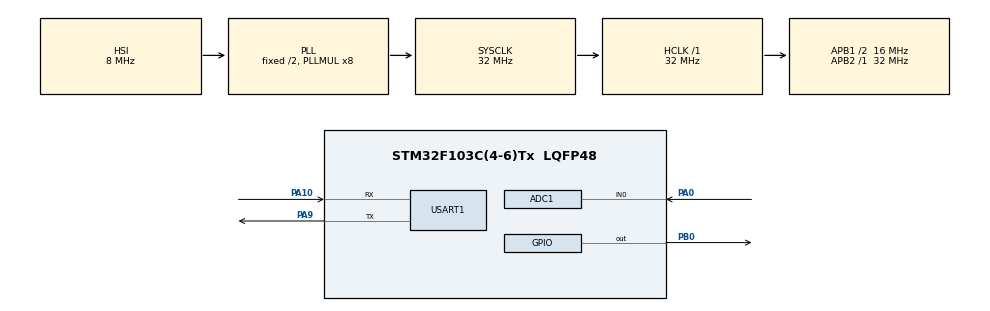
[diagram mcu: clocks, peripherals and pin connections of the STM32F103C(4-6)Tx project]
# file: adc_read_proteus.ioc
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ADC1.Channel-0\#ChannelRegularConversion=ADC_CHANNEL_0
ADC1.ContinuousConvMode=ENABLE
ADC1.EnableAnalogWatchDog=false
ADC1.NbrOfConversionFlag=1
ADC1.Rank-0\#ChannelRegularConversion=1
ADC1.SamplingTime-0\#ChannelRegularConversion=ADC_SAMPLETIME_1CYCLE_5
ADC1.master=1
Mcu.Family=STM32F1
Mcu.Name=STM32F103C(4-6)Tx
Mcu.Package=LQFP48
NVIC.PriorityGroup=NVIC_PRIORITYGROUP_4
PA0-WKUP.Signal=ADCx_IN0
PA10.Mode=Asynchronous
PA10.Signal=USART1_RX
PA9.Mode=Asynchronous
PA9.Signal=USART1_TX
PB0.GPIO_Speed=GPIO_SPEED_FREQ_HIGH
PB0.Signal=GPIO_Output
PD0-OSC_IN.Mode=HSE-External-Oscillator
PD0-OSC_IN.Signal=RCC_OSC_IN
PD1-OSC_OUT.Mode=HSE-External-Oscillator
PD1-OSC_OUT.Signal=RCC_OSC_OUT
ProjectManager.HeapSize=0x200
ProjectManager.StackSize=0x400
ProjectManager.TargetToolchain=STM32CubeIDE
RCC.ADCPresc=RCC_ADCPCLK2_DIV4
RCC.AHBFreq_Value=32000000
RCC.APB1CLKDivider=RCC_HCLK_DIV2
RCC.APB1Freq_Value=16000000
RCC.APB1TimFreq_Value=32000000
RCC.APB2Freq_Value=32000000
RCC.APB2TimFreq_Value=32000000
RCC.HCLKFreq_Value=32000000
RCC.PLLMUL=RCC_PLL_MUL8
RCC.SYSCLKFreq_VALUE=32000000
RCC.SYSCLKSource=RCC_SYSCLKSOURCE_PLLCLK
RCC.USBFreq_Value=32000000
SH.ADCx_IN0.0=ADC1_IN0,IN0
USART1.VirtualMode=VM_ASYNC
VP_SYS_VS_ND.Mode=No_Debug
board=custom

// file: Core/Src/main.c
/* USER CODE BEGIN Header */
/**
  ******************************************************************************
  * @file           : main.c
  * @brief          : Main program body
  ******************************************************************************
  * @attention
  *
  * Copyright (c) 2024 STMicroelectronics.
  * All rights reserved.
  *
  * This software is licensed under terms that can be found in the LICENSE file
  * in the root directory of this software component.
  * If no LICENSE file comes with this software, it is provided AS-IS.
  *
  ******************************************************************************
  */
/* USER CODE END Header */
#include "main.h"
#include<stdio.h>
#include<string.h>
#include<stdlib.h>

ADC_HandleTypeDef hadc1;

UART_HandleTypeDef huart1;

/* USER CODE BEGIN PV */
float adc_voltage;
     uint16_t adc_value,tam_kisim,ondalikli_kisim;
	 uint32_t res;
	 uint32_t data1;
	 char msg[10];
/* USER CODE END PV */

void SystemClock_Config(void);
static void MX_GPIO_Init(void);
static void MX_ADC1_Init(void);
static void MX_USART1_UART_Init(void);

int main(void)
{

  /* MCU Configuration--------------------------------------------------------*/

  /* Reset of all peripherals, Initializes the Flash interface and the Systick. */
  HAL_Init();

  /* Configure the system clock */
  SystemClock_Config();

  /* Initialize all configured peripherals */
  MX_GPIO_Init();
  MX_ADC1_Init();
  MX_USART1_UART_Init();

  /* Infinite loop */
  while (1)
  {

    /* USER CODE BEGIN 3 */
	  HAL_ADC_Start(&hadc1);
	  if(HAL_ADC_PollForConversion(&hadc1, 100)==HAL_OK){
	  		  adc_value = HAL_ADC_GetValue(&hadc1);
	  		  adc_voltage=adc_value/4096.0*3.3;

	  	}
	  tam_kisim=(uint32_t)adc_voltage;
	  ondalikli_kisim=(uint32_t)((adc_voltage-tam_kisim)*1000);

	  //TEST GPIO PIN CONVERSION BEGIN
	  HAL_GPIO_WritePin(GPIOB, GPIO_PIN_0, GPIO_PIN_SET);

	  sprintf(msg," ADC_deger:%d ,ADC_voltage:%d,%d \r\n",adc_value,tam_kisim,ondalikli_kisim);
	  HAL_UART_Transmit(&huart1,(uint8_t*)msg,strlen(msg),HAL_MAX_DELAY);

	  HAL_Delay(500);
  }
  /* USER CODE END 3 */
}

void SystemClock_Config(void)
{
  RCC_OscInitTypeDef RCC_OscInitStruct = {0};
  RCC_ClkInitTypeDef RCC_ClkInitStruct = {0};
  RCC_PeriphCLKInitTypeDef PeriphClkInit = {0};

  /** Initializes the RCC Oscillators according to the specified parameters
  * in the RCC_OscInitTypeDef structure.
  */
  RCC_OscInitStruct.OscillatorType = RCC_OSCILLATORTYPE_HSI;
  RCC_OscInitStruct.HSIState = RCC_HSI_ON;
  RCC_OscInitStruct.HSICalibrationValue = RCC_HSICALIBRATION_DEFAULT;
  RCC_OscInitStruct.PLL.PLLState = RCC_PLL_ON;
  RCC_OscInitStruct.PLL.PLLSource = RCC_PLLSOURCE_HSI_DIV2;
  RCC_OscInitStruct.PLL.PLLMUL = RCC_PLL_MUL8;
  if (HAL_RCC_OscConfig(&RCC_OscInitStruct) != HAL_OK)
  {
    Error_Handler();
  }

  /** Initializes the CPU, AHB and APB buses clocks
  */
  RCC_ClkInitStruct.ClockType = RCC_CLOCKTYPE_HCLK|RCC_CLOCKTYPE_SYSCLK
                              |RCC_CLOCKTYPE_PCLK1|RCC_CLOCKTYPE_PCLK2;
  RCC_ClkInitStruct.SYSCLKSource = RCC_SYSCLKSOURCE_PLLCLK;
  RCC_ClkInitStruct.AHBCLKDivider = RCC_SYSCLK_DIV1;
  RCC_ClkInitStruct.APB1CLKDivider = RCC_HCLK_DIV2;
  RCC_ClkInitStruct.APB2CLKDivider = RCC_HCLK_DIV1;

  if (HAL_RCC_ClockConfig(&RCC_ClkInitStruct, FLASH_LATENCY_1) != HAL_OK)
  {
    Error_Handler();
  }
  PeriphClkInit.PeriphClockSelection = RCC_PERIPHCLK_ADC;
  PeriphClkInit.AdcClockSelection = RCC_ADCPCLK2_DIV4;
  if (HAL_RCCEx_PeriphCLKConfig(&PeriphClkInit) != HAL_OK)
  {
    Error_Handler();
  }
}

static void MX_ADC1_Init(void)
{

  ADC_ChannelConfTypeDef sConfig = {0};

  /** Common config
  */
  hadc1.Instance = ADC1;
  hadc1.Init.ScanConvMode = ADC_SCAN_DISABLE;
  hadc1.Init.ContinuousConvMode = ENABLE;
  hadc1.Init.DiscontinuousConvMode = DISABLE;
  hadc1.Init.ExternalTrigConv = ADC_SOFTWARE_START;
  hadc1.Init.DataAlign = ADC_DATAALIGN_RIGHT;
  hadc1.Init.NbrOfConversion = 1;
  if (HAL_ADC_Init(&hadc1) != HAL_OK)
  {
    Error_Handler();
  }

  /** Configure Regular Channel
  */
  sConfig.Channel = ADC_CHANNEL_0;
  sConfig.Rank = ADC_REGULAR_RANK_1;
  sConfig.SamplingTime = ADC_SAMPLETIME_1CYCLE_5;
  if (HAL_ADC_ConfigChannel(&hadc1, &sConfig) != HAL_OK)
  {
    Error_Handler();
  }

}

static void MX_USART1_UART_Init(void)
{

  huart1.Instance = USART1;
  huart1.Init.BaudRate = 115200;
  huart1.Init.WordLength = UART_WORDLENGTH_8B;
  huart1.Init.StopBits = UART_STOPBITS_1;
  huart1.Init.Parity = UART_PARITY_NONE;
  huart1.Init.Mode = UART_MODE_TX_RX;
  huart1.Init.HwFlowCtl = UART_HWCONTROL_NONE;
  huart1.Init.OverSampling = UART_OVERSAMPLING_16;
  if (HAL_UART_Init(&huart1) != HAL_OK)
  {
    Error_Handler();
  }

}

static void MX_GPIO_Init(void)
{
  GPIO_InitTypeDef GPIO_InitStruct = {0};

  /* GPIO Ports Clock Enable */
  __HAL_RCC_GPIOD_CLK_ENABLE();
  __HAL_RCC_GPIOA_CLK_ENABLE();
  __HAL_RCC_GPIOB_CLK_ENABLE();

  /*Configure GPIO pin Output Level */
  HAL_GPIO_WritePin(GPIOB, GPIO_PIN_0, GPIO_PIN_RESET);

  /*Configure GPIO pin : PB0 */
  GPIO_InitStruct.Pin = GPIO_PIN_0;
  GPIO_InitStruct.Mode = GPIO_MODE_OUTPUT_PP;
  GPIO_InitStruct.Pull = GPIO_NOPULL;
  GPIO_InitStruct.Speed = GPIO_SPEED_FREQ_HIGH;
  HAL_GPIO_Init(GPIOB, &GPIO_InitStruct);

}

void Error_Handler(void)
{
  __disable_irq();
  while (1)
  {
  }
}
